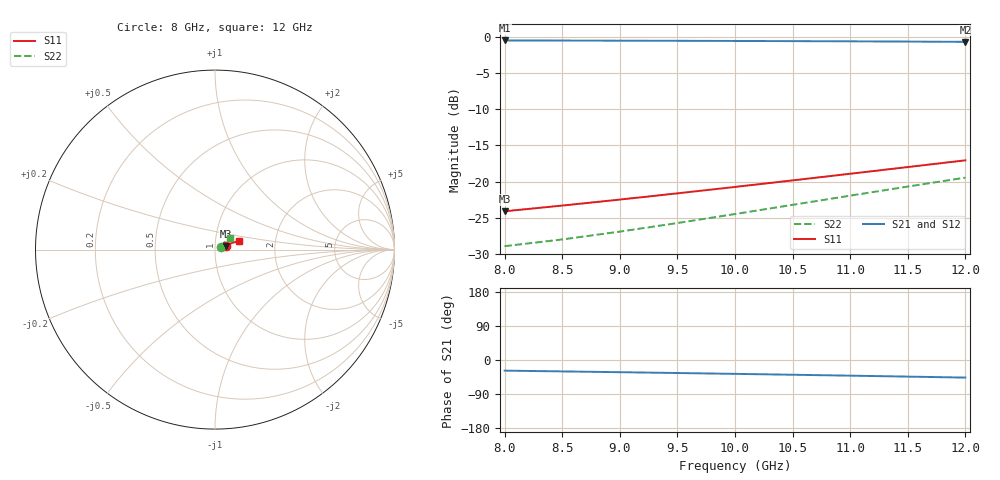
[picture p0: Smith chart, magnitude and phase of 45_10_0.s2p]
! Created Thu Oct 22 17:05:00 2020
# hz S ma R 50
! 2 Port Network Data from SP1.SP block
! freq  magS11  angS11  magS21  angS21  magS12  angS12  magS22  angS22
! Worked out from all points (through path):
!   9 points, 8 GHz to 12 GHz, reference 50 ohm
!   highest |S21| = -0.48 dB at 8 GHz (marker M1); lowest = -0.7 dB at 12 GHz (marker M2)
!   lowest |S11| = -24.1 dB at 8 GHz (marker M3), VSWR 1.13, Z = 56.2 + j2.27 ohm
!   |S11| at or under -10 dB: start of sweep to end of sweep
!   |S22| runs from -28.9 to -19.4 dB; largest |S21 - S12| = 0
8e9  0.06234 18.8  0.9464 -28.0  0.9464 -28.0  0.03577 22.0
8.5e9  0.06828 19.8  0.9449 -30.1  0.9449 -30.1  0.03982 26.8
9e9  0.07512 20.6  0.9432 -32.2  0.9432 -32.2  0.0451 30.9
9.5e9  0.08295 21.2  0.9412 -34.4  0.9412 -34.4  0.0517 34.1
1e10  0.09187 21.4  0.9389 -36.6  0.9389 -36.6  0.05968 36.3
1.05e10  0.102 21.4  0.9363 -38.9  0.9363 -38.9  0.06907 37.6
1.1e10  0.1133 21.0  0.9333 -41.3  0.9333 -41.3  0.07997 38.1
1.15e10  0.1261 20.4  0.9298 -43.8  0.9298 -43.8  0.09243 38.0
1.2e10  0.1403 19.5  0.9257 -46.4  0.9257 -46.4  0.1065 37.3
